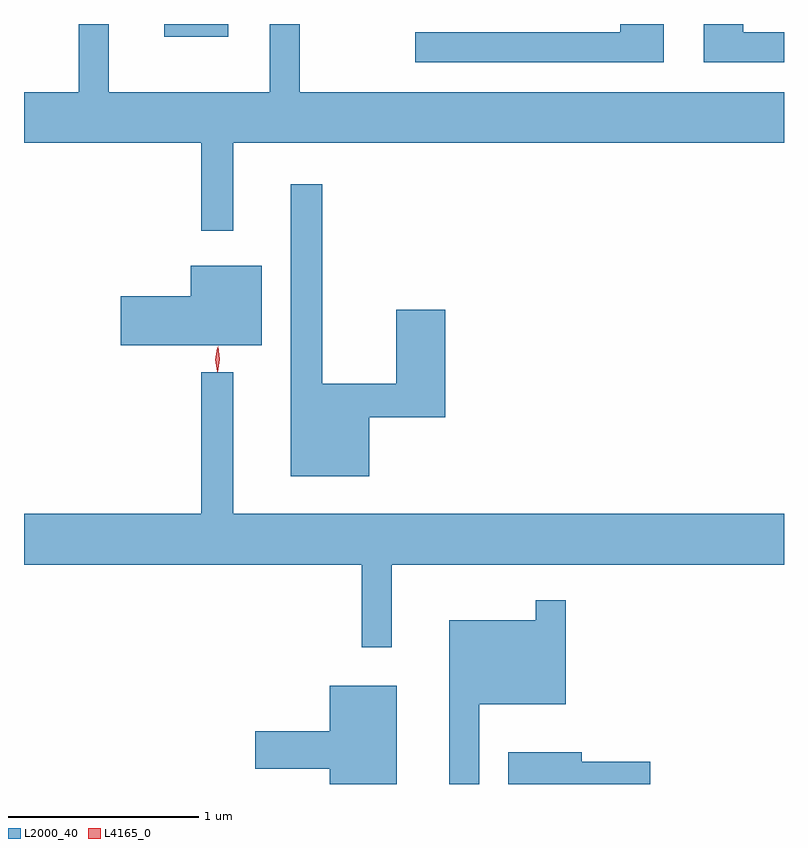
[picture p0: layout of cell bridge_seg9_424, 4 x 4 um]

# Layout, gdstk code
import gdstk
lib = gdstk.Library(unit=1e-6, precision=1e-09)
def R(c, l, rs):  # rectangles x0, y0, x1, y1
    for r in rs: c.add(gdstk.rectangle(r[:2], r[2:], *l))
def P(c, l, *ps):  # polygons
    for p in ps: c.add(gdstk.Polygon(p, *l))
L2000_40 = (2000, 40)
L4165_0 = (4165, 0)

bridge_seg9_424 = lib.new_cell('bridge_seg9_424')
R(bridge_seg9_424, L2000_40, [(376.846,2041.216,377.184,2041.282)])
P(bridge_seg9_424, L2000_40, [(377.209,2040.656),(380.108,2040.656),(380.108,2040.924),(377.559,2040.924),(377.559,2041.282),(377.401,2041.282),(377.401,2040.924),(376.554,2040.924),(376.554,2041.282),(376.396,2041.282),(376.396,2040.924),(376.108,2040.924),(376.108,2040.656),(377.041,2040.656),(377.041,2040.193),(377.209,2040.193)],
  [(379.474,2041.282),(379.246,2041.282),(379.246,2041.239),(378.168,2041.239),(378.168,2041.081),(379.474,2041.081)],
  [(380.108,2041.239),(379.894,2041.239),(379.894,2041.282),(379.686,2041.282),(379.686,2041.081),(380.108,2041.081)],
  [(377.924,2039.211),(378.324,2039.211),(378.324,2039.779),(378.066,2039.779),(378.066,2039.389),(377.679,2039.389),(377.679,2040.438),(377.511,2040.438),(377.511,2038.901),(377.924,2038.901)],
  [(377.359,2040.009),(376.986,2040.009),(376.986,2039.849),(376.616,2039.849),(376.616,2039.591),(377.359,2039.591)],
  [(378.044,2038.436),(380.108,2038.436),(380.108,2038.704),(377.209,2038.704),(377.209,2039.448),(377.041,2039.448),(377.041,2038.704),(376.108,2038.704),(376.108,2038.436),(377.886,2038.436),(377.886,2038.003),(378.044,2038.003)],
  [(378.504,2037.701),(378.959,2037.701),(378.959,2038.248),(378.801,2038.248),(378.801,2038.144),(378.346,2038.144),(378.346,2037.282),(378.504,2037.282)],
  [(378.069,2037.799),(377.716,2037.799),(377.716,2037.559),(377.326,2037.559),(377.326,2037.361),(377.716,2037.361),(377.716,2037.282),(378.069,2037.282)],
  [(379.404,2037.399),(379.044,2037.399),(379.044,2037.449),(378.656,2037.449),(378.656,2037.282),(379.404,2037.282)])
P(bridge_seg9_424, L4165_0, [(377.128,2039.45),(377.128,2039.45),(377.12,2039.518),(377.13,2039.586),(377.13,2039.586),(377.131,2039.586),(377.139,2039.518),(377.129,2039.45)],
  [(377.124,2039.453),(377.115,2039.516),(377.124,2039.579),(377.124,2039.58),(377.125,2039.579),(377.135,2039.516),(377.125,2039.453),(377.125,2039.453)])

lib.write_gds('bridge_seg9_424.gds')
